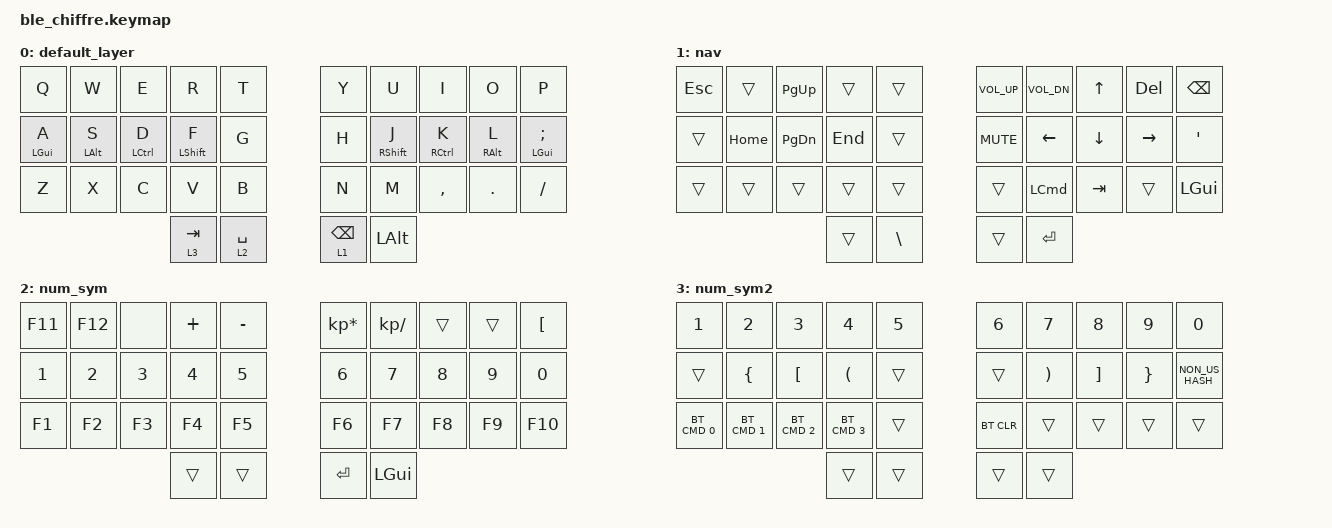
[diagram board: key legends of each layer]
/*
 * Copyright (c) 2020 The ZMK Contributors
 *
 * SPDX-License-Identifier: MIT
 */

#include <behaviors.dtsi>
#include <dt-bindings/zmk/keys.h>
#include <dt-bindings/zmk/bt.h>
#include <dt-bindings/zmk/rgb.h>

#define DEFAULT 0
#define NAV 1
#define NUM_SYM 2
#define NUM_SYM2 3

/ {
	behaviors {
		rst: boot_reset 
		{
			compatible = "zmk,behavior-hold-tap";
			label = "Bootloader Tap - Reset Hold";
			#binding-cells = <2>;
			tapping_term_ms = <200>;
            flavor = "balanced";
			bindings = <&reset>, <&bootloader>;
        };

        bh: layer_taps 
		{
			compatible = "zmk,behavior-hold-tap";
			label = "Layer-Tap";
			#binding-cells = <2>;
			tapping_term_ms = <300>;
            flavor = "tap-preferred";
			bindings = <&mo>, <&kp>;
        };

        hm: homerow_mods0 
		{
			compatible = "zmk,behavior-hold-tap";
			label = "homerow mods";
			#binding-cells = <2>;
			tapping_term_ms = <230>;
            flavor = "tap-preferred";
			bindings = <&kp>, <&kp>;
        };
        
        hm1: homerow_mods1 
		{
			compatible = "zmk,behavior-hold-tap";
			label = "homerow mods";
			#binding-cells = <2>;
			tapping_term_ms = <205>;
            flavor = "tap-preferred";
			bindings = <&kp>, <&kp>;
        };

        hm2: homerow_mods2 
		{
			compatible = "zmk,behavior-hold-tap";
			label = "homerow mods 2";
			#binding-cells = <2>;
			tapping_term_ms = <250>;
            flavor = "tap-preferred";
			bindings = <&kp>, <&kp>;
        };

        com_col: comma_semicolon
		{
		 	compatible = "zmk,behavior-hold-tap";
	     	label = "Tap comma_hold colon";
			#binding-cells = <2>;
			tapping_term_ms = <150>;
            flavor = "balanced";
		 	bindings = <&kp>, <&kp>;
	    };
   	 };
};



/ {
    keymap 
	{
    compatible = "zmk,keymap";

    default_layer {
            bindings = <
    &kp Q 		&kp W		&kp E 		&kp R 		&kp T			&kp Y 		&kp U 		&kp I 		&kp O 		&kp P
    &hm2  LGUI   A 	&hm LALT  S 	&hm LCTRL  D	&hm1 LSHFT F 	&kp G	 		&kp H 		&hm1 RSHFT J	&hm RCTRL K	&hm RALT  L	&hm2 LGUI  SEMI
    &kp	Z 		&kp X 		&kp C 		&kp V 		&kp B	 		&kp N		&kp M 		&kp COMMA   	&kp DOT  	&kp SLASH
    							&bh 3 TAB 	&bh 2 SPACE 		&bh 1 BSPC 	&kp LALT
            >;
        };

    nav {
            bindings = <
    &kp ESC		&trans		&kp PG_UP  	&trans		&trans 			&kp C_VOL_UP	&kp C_VOL_DN	&kp UP 		&kp DEL		&kp BSPC
    &trans 		&kp HOME	&kp PG_DN	&kp END		&trans 			&kp C_MUTE 	&kp LEFT 	&kp DOWN 	&kp RIGHT 	&kp SINGLE_QUOTE	
    &trans	 	&trans		&trans		&trans 		&trans 			&trans	 	&kp LCMD	&kp TAB	 	&trans	 	&kp LGUI	
    							&trans		&kp BSLH		&trans 		&kp RET
            >;
        };

    num_sym {
            bindings = <
    &kp F11 		&kp F12		&none	  	&kp PLUS	&kp MINUS		&kp KP_MULTIPLY	&kp KP_DIVIDE 	&trans 		&trans 		&kp LEFT_BRACKET	
    &kp N1 		&kp N2		&kp N3		&kp N4		&kp N5 			&kp N6	 	&kp N7	 	&kp N8	 	&kp N9	 	&kp N0	
    &kp F1 		&kp F2		&kp F3		&kp F4		&kp F5 			&kp F6	 	&kp F7	 	&kp F8	 	&kp F9	 	&kp F10		
   							&trans	 	&trans 			&kp ENTER 	&kp LGUI
            >;
        };
	
    num_sym2 {
            bindings = <
    &kp N1 		&kp N2		&kp N3		&kp N4		&kp N5 			&kp N6	 	&kp N7	 	&kp N8	 	&kp N9	 	&kp N0
    &trans 		&kp LBRC	&kp LBKT  	&kp LPAR	&trans 			&trans 		&kp RPAR 	&kp RBKT	&kp RBRC	&kp NON_US_HASH	
    &bt BT_SEL_CMD 0 	&bt BT_SEL_CMD 1 &bt BT_SEL_CMD 2 &bt BT_SEL_CMD 3 &trans		&bt BT_CLR	&trans 		&trans	 	&trans 		&trans 			
   							&trans 	&trans 				&trans		&trans
            >;
        };
    };
};
